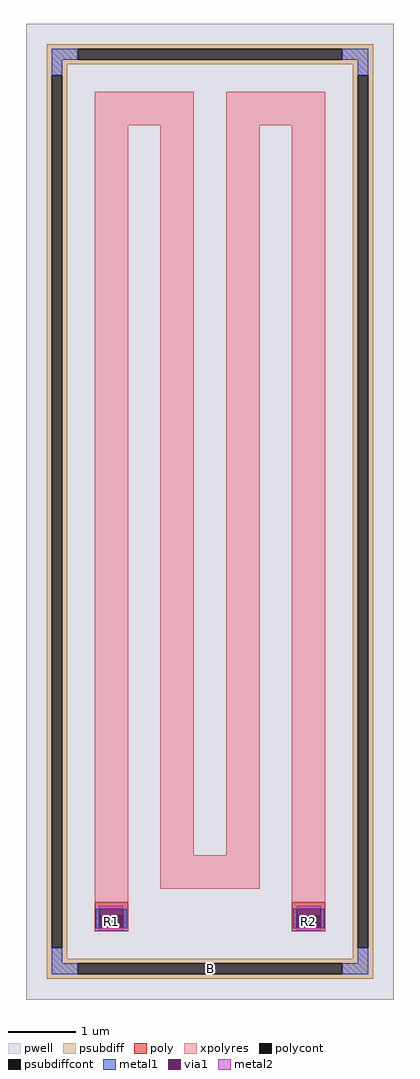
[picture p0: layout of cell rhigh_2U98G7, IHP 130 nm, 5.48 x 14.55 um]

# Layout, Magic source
magic
tech ihp-sg13g2
magscale 1 2
<< pwell >>
rect -548 -1455 548 1455
<< psubdiff >>
rect -486 1379 486 1393
rect -486 1347 -394 1379
rect 394 1347 486 1379
rect -486 1333 486 1347
rect -486 1301 -426 1333
rect -486 -1301 -472 1301
rect -440 -1301 -426 1301
rect 426 1301 486 1333
rect -486 -1333 -426 -1301
rect 426 -1301 440 1301
rect 472 -1301 486 1301
rect 426 -1333 486 -1301
rect -486 -1347 486 -1333
rect -486 -1379 -394 -1347
rect 394 -1379 486 -1347
rect -486 -1393 486 -1379
<< psubdiffcont >>
rect -394 1347 394 1379
rect -472 -1301 -440 1301
rect 440 -1301 472 1301
rect -394 -1379 394 -1347
<< poly >>
rect -344 -1205 -244 -1165
rect -344 -1237 -330 -1205
rect -258 -1237 -244 -1205
rect -344 -1251 -244 -1237
rect 244 -1205 344 -1165
rect 244 -1237 258 -1205
rect 330 -1237 344 -1205
rect 244 -1251 344 -1237
<< polycont >>
rect -330 -1237 -258 -1205
rect 258 -1237 330 -1205
<< xpolyres >>
rect -344 1251 -148 1252
rect 48 1251 244 1252
rect -344 1152 -48 1251
rect -344 -1165 -244 1152
rect -148 -1025 -48 1152
rect 48 1152 344 1251
rect 48 -1025 148 1152
rect -148 -1125 148 -1025
rect 244 -1165 344 1152
<< metal1 >>
rect -472 1347 -394 1379
rect 394 1347 472 1379
rect -472 1301 -440 1347
rect 440 1301 472 1347
rect -340 -1185 -248 -1184
rect -340 -1241 -330 -1185
rect -258 -1241 -248 -1185
rect -340 -1242 -248 -1241
rect 248 -1185 340 -1184
rect 248 -1241 258 -1185
rect 330 -1241 340 -1185
rect 248 -1242 340 -1241
rect -472 -1347 -440 -1301
rect 440 -1347 472 -1301
rect -472 -1379 -394 -1347
rect 394 -1379 472 -1347
<< via1 >>
rect -330 -1205 -258 -1185
rect -330 -1237 -258 -1205
rect -330 -1241 -258 -1237
rect 258 -1205 330 -1185
rect 258 -1237 330 -1205
rect 258 -1241 330 -1237
<< metal2 >>
rect -330 -1185 -258 -1176
rect -330 -1250 -258 -1241
rect 258 -1185 330 -1176
rect 258 -1250 330 -1241
<< labels >>
rlabel psubdiffcont 0 -1363 0 -1363 0 B
port 1 nsew
rlabel polycont -294 -1221 -294 -1221 0 R1
port 2 nsew
rlabel polycont 294 -1221 294 -1221 0 R2
port 3 nsew
<< properties >>
string FIXED_BBOX -456 -1363 456 1363
string gencell rhigh
string library sg13g2
string parameters w 0.50 l 11.88475 m 1 nx 4 wmin 0.50 lmin 0.50 class resistor rho 1360 val 133.388k dummy 0 dw 0.0 term 0.0 sterm 0.0 caplen 0 guard 1 glc 1 grc 1 gtc 1 gbc 1 snake 1 full_metal 1 n_guard 0 hv_guard 0 vias 1 viagb 0 viagt 0 viagl 0 viagr 0 doports 1
<< end >>
